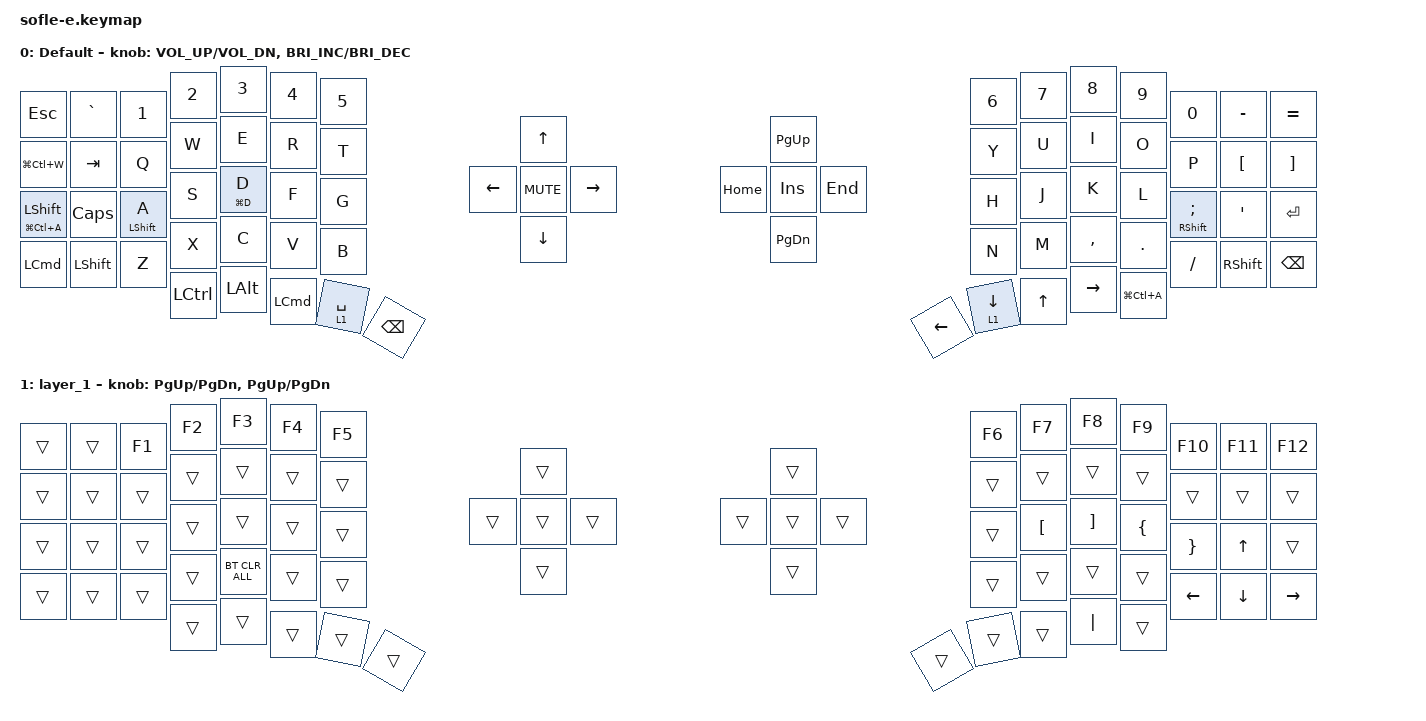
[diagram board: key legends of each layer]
/*
 * Copyright (c) 2020 The ZMK Contributors
 *
 * SPDX-License-Identifier: MIT
 */

#include <behaviors.dtsi>
#include <dt-bindings/zmk/bt.h>
#include <dt-bindings/zmk/keys.h>

#define BASE 0
#define LOWER 1
#define RAISE 2
#define MICRO 3
#define ADJUST 4

&mt {
    tapping-term-ms = <200>;
    flavor = "tap-preferred";
    quick-tap-ms = <200>;
    require-prior-idle-ms = <100>;

    //retro-tap;
};

/ {
    // Activate ADJUST layer by pressing raise and lower

    conditional_layers {
        compatible = "zmk,conditional-layers";

        adjust_layer {
            if-layers = <1 1>;
            then-layer = <1>;
        };
    };

    combos {
        compatible = "zmk,combos";

        JK2Layer3 {
            bindings = <&mo 0>;
            key-positions = <36 37>;
        };

        DF2Space {
            bindings = <&kp SPACE>;
            key-positions = <32 33>;
        };
    };

    behaviors {
        btclr: btclr {
            compatible = "zmk,behavior-mod-morph";
            label = "Clear blu profile mod-morph";
            bindings = <&none>, <&bt BT_CLR>;

            #binding-cells = <0>;
            mods = <(MOD_LCTL|MOD_LSFT|MOD_LGUI|MOD_LALT|MOD_RSFT|MOD_RCTL|MOD_RALT|MOD_RGUI)>;
        };
    };

    keymap {
        compatible = "zmk,keymap";

        default_layer {
            display-name = "Default";
            bindings = <
&kp ESC                   &kp GRAVE         &kp N1        &kp N2            &kp N3       &kp N4         &kp N5          &kp N6   &kp N7          &kp N8            &kp N9        &kp N0          &kp MINUS      &kp EQUAL
&kp LG(LC(W))             &kp TAB           &kp Q         &kp W             &kp E        &kp R          &kp T           &kp Y    &kp U           &kp I             &kp O         &kp P           &kp LBKT       &kp RBKT
&mt LG(LC(A)) LEFT_SHIFT  &kp CAPS          &mt LSHFT A   &kp S             &mt LG(D) D  &kp F          &kp G           &kp H    &kp J           &kp K             &kp L         &mt RSHFT SEMI  &kp SQT        &kp RET
&kp LEFT_COMMAND          &kp LSHFT         &kp Z         &kp X             &kp C        &kp V          &kp B           &kp N    &kp M           &kp COMMA         &kp DOT       &kp FSLH        &kp RSHFT      &kp BACKSPACE
                          &kp LEFT_CONTROL  &kp LEFT_ALT  &kp LEFT_COMMAND  &lt 1 SPACE  &kp BACKSPACE                           &kp LEFT_ARROW  &lt 1 DOWN_ARROW  &kp UP_ARROW  &kp RIGHT       &kp LG(LC(A))
                                            &kp UP        &kp LEFT          &kp DOWN     &kp RIGHT      &kp C_MUTE      &kp INS                  &kp END           &kp PG_DN     &kp HOME        &kp PG_UP
            >;

            sensor-bindings =
                <&inc_dec_kp C_VOL_UP C_VOL_DN>,
                <&inc_dec_kp C_BRI_INC C_BRI_DEC>;
        };

        layer_1 {
            bindings = <
&trans  &trans  &kp F1  &kp F2  &kp F3          &kp F4  &kp F5      &kp F6  &kp F7            &kp F8             &kp F9          &kp F10          &kp F11         &kp F12
&trans  &trans  &trans  &trans  &trans          &trans  &trans      &trans  &trans            &trans             &trans          &trans           &trans          &trans
&trans  &trans  &trans  &trans  &trans          &trans  &trans      &trans  &kp LEFT_BRACKET  &kp RIGHT_BRACKET  &kp LEFT_BRACE  &kp RIGHT_BRACE  &kp UP_ARROW    &trans
&trans  &trans  &trans  &trans  &bt BT_CLR_ALL  &trans  &trans      &trans  &trans            &trans             &trans          &kp LEFT_ARROW   &kp DOWN_ARROW  &kp RIGHT_ARROW
        &trans  &trans  &trans  &trans          &trans                      &trans            &trans             &trans          &kp PIPE         &trans
                &trans  &trans  &trans          &trans  &trans      &trans                    &trans             &trans          &trans           &trans
            >;

            sensor-bindings =
                <&inc_dec_kp PAGE_UP PAGE_DOWN>,
                <&inc_dec_kp PAGE_UP PAGE_DOWN>;
        };
    };
};
